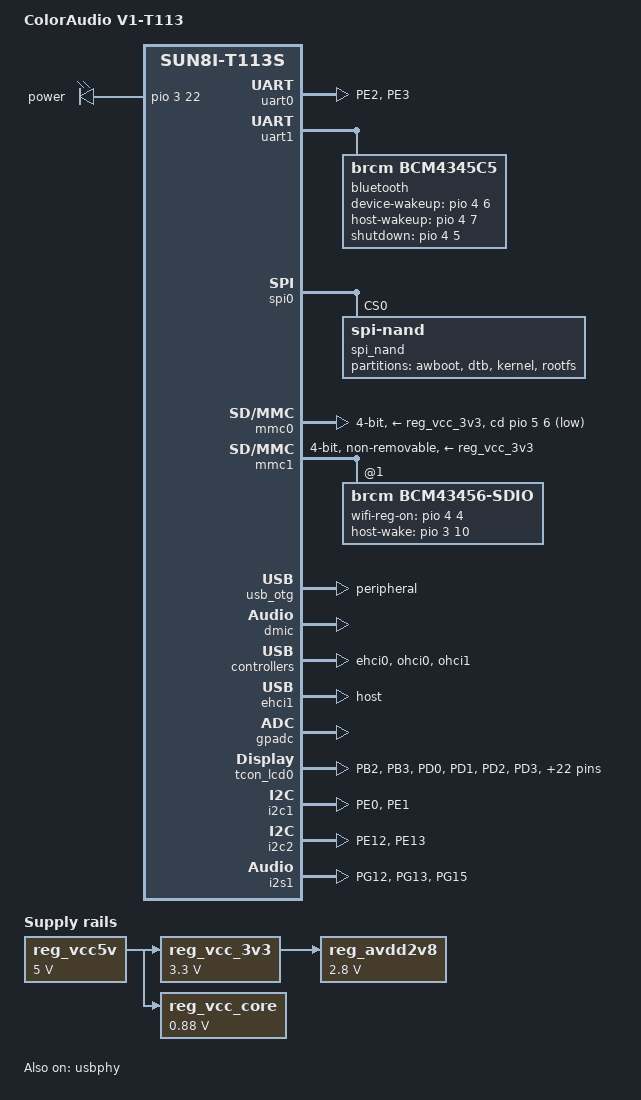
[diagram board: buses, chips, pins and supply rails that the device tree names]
// SPDX-License-Identifier: (GPL-2.0+ OR MIT)
// Copyright (C) 2022 Arm Ltd.

#include <dt-bindings/interrupt-controller/irq.h>
#include <dt-bindings/gpio/gpio.h>

/dts-v1/;

#include "sun8i-t113s.dtsi"

/ {
	model = "ColorAudio V1-T113";
	compatible = "coloryr,coloraudio-t113-v1", "allwinner,sun8i-t113s";

	chosen {
		bootargs = "mem=128M ubi.mtd=3 rootfstype=ubifs root=ubi0:rootfs rw rootwait console=ttyS0,115200 earlyprintk=sunxi-uart,0x02500000 init=/sbin/init";
		stdout-path = "serial0:115200n8";
	};

	aliases {
		serial0 = &uart0;
		mmc0 = &mmc0;
		mmc1 = &mmc1;      // AP6256 WiFi
        mmc2 = &mmc2;      // TF卡
		i2c1 = &i2c1;
		i2c2 = &i2c2;
	};

	reg_vcc5v: regulator-5v {
		compatible = "regulator-fixed";
		regulator-name = "vcc-5v";
		regulator-min-microvolt = <5000000>;
		regulator-max-microvolt = <5000000>;
		regulator-always-on;
	};

	reg_vcc_3v3: regulator-3v3 {
		compatible = "regulator-fixed";
		regulator-name = "vcc-3v3";
		regulator-min-microvolt = <3300000>;
		regulator-max-microvolt = <3300000>;
		vin-supply = <&reg_vcc5v>;
	};

	reg_vcc_core: regulator-core {
		compatible = "regulator-fixed";
		regulator-name = "vcc-core";
		regulator-min-microvolt = <880000>;
		regulator-max-microvolt = <880000>;
		vin-supply = <&reg_vcc5v>;
	};

	reg_avdd2v8: regulator-avdd {
		compatible = "regulator-fixed";
		regulator-name = "avdd2v8";
		regulator-min-microvolt = <2800000>;
		regulator-max-microvolt = <2800000>;
		vin-supply = <&reg_vcc_3v3>;
	};

	// pwm2: pwm2@2000c12 {
	// 	compatible = "allwinner,sunxi-pwm2";
	// 	pinctrl-names = "active", "sleep";
	// 	reg = <0x0 0x02000c12 0x0 0x4>;
	// 	reg_base = <0x02000c00>;
	// };

	//dmic_codec: dmic-codec {
	//	compatible = "dmic-codec";
	//	num-channels = <2>;
	//	#sound-dai-cells = <0>;
	//};

	//dmic-sound {
	//	compatible = "simple-audio-card";
	//	#address-cells = <1>;
	//	#size-cells = <0>;

	//	simple-audio-card,dai-link@0 {
	//		format = "pdm";
	//		frame-master = <&link0_cpu>;
	//		bitclock-master = <&link0_cpu>;

	//		link0_cpu: cpu {
	//			sound-dai = <&dmic>;
	//		};

	//		link0_codec: codec {
	//			sound-dai = <&dmic_codec>;
	//		};
	//	};
	//};

	leds {
		compatible = "gpio-leds";

		power {
			linux,default-trigger = "default-on";
			label = "power";
			gpios = <&pio 3 22 GPIO_ACTIVE_HIGH>;
		};
	};
};

&cpu0 {
	cpu-supply = <&reg_vcc_core>;
};

&cpu1 {
	cpu-supply = <&reg_vcc_core>;
};

&pio {
	vcc-pb-supply = <&reg_vcc_3v3>;
	vcc-pc-supply = <&reg_vcc_3v3>;
	vcc-pd-supply = <&reg_vcc_3v3>;
	vcc-pe-supply = <&reg_avdd2v8>;
	vcc-pf-supply = <&reg_vcc_3v3>;
	vcc-pg-supply = <&reg_vcc_3v3>;

    i2c1_pins_a: i2c1@0 {
        pins = "PE0", "PE1";
        function = "i2c1";
    };

    i2c2_pins_a: i2c2@0 {
        pins = "PE12", "PE13";
        function = "i2c2";
    };

	rgb24_pins_a: rgb24@0 {
		allwinner,pins = "PB2", "PB3", "PD0", "PD1", "PD2", "PD3", "PD4", "PD5", \
			"PB4", "PB5", "PD6", "PD7", "PD8", "PD9", "PD10", "PD11", \
			"PB6", "PB7", "PD12", "PD13", "PD14", "PD15", "PD16", "PD17", \
			"PD18", "PD19", "PD20", "PD21";
		allwinner,pname = "lcdd0", "lcdd1", "lcdd2", "lcdd3", "lcdd4", "lcdd5", "lcdd6", "lcdd7", \
			"lcdd8", "lcdd9", "lcdd10", "lcdd11", "lcdd12", "lcdd13", "lcdd14", "lcdd15", \
			"lcdd16", "lcdd17", "lcdd18", "lcdd19", "lcdd20", "lcdd21", "lcdd22", "lcdd23", \
			"lcdclk", "lcdde", "lcdhsync", "lcdvsync";
		allwinner,function = "lcd0";
		allwinner,muxsel = <2>;
		allwinner,drive = <3>;
		allwinner,pull = <0>;
	};
	rgb24_pins_b: rgb24@1 {
		allwinner,pins = "PB2", "PB3", "PD0", "PD1", "PD2", "PD3", "PD4", "PD5", \
			"PB4", "PB5", "PD6", "PD7", "PD8", "PD9", "PD10", "PD11", \
			"PB6", "PB7", "PD12", "PD13", "PD14", "PD15", "PD16", "PD17", \
			"PD18", "PD19", "PD20", "PD21";
		allwinner,pname = "lcdd0", "lcdd1", "lcdd2", "lcdd3", "lcdd4", "lcdd5", "lcdd6", "lcdd7", \
			"lcdd8", "lcdd9", "lcdd10", "lcdd11", "lcdd12", "lcdd13", "lcdd14", "lcdd15", \
			"lcdd16", "lcdd17", "lcdd18", "lcdd19", "lcdd20", "lcdd21", "lcdd22", "lcdd23", \
			"lcdclk", "lcdde", "lcdhsync", "lcdvsync";
		allwinner,function = "io_disabled";
		allwinner,muxsel = <7>;
		allwinner,drive = <3>;
		allwinner,pull = <0>;
	};

	uart0_pins_a: uart0_pins@0 {
		pins = "PE2", "PE3";
		function = "uart0";
		drive-strength = <10>;
		bias-pull-up;
	};

	uart0_pins_b: uart0_pins@1 {
		pins = "PE2", "PE3";
		function = "gpio_in";
	};

	uart2_pins_a: uart2_pins@0 {
		pins = "PE2", "PE3";
		function = "uart2";
		drive-strength = <10>;
		bias-pull-up;
	};

	uart2_pins_b: uart2_pins@1 {
		pins = "PE2", "PE3";
		function = "gpio_in";
	};

	pwm2_pin_a: pwm2@0 {
		pins = "PE8";
		function = "pwm2";
		drive-strength = <10>;
		bias-pull-up;
	};

	pwm2_pin_b: pwm2@1 {
		pins = "PE8";
	};

	i2s1_pins_a: i2s1@0 {
		pins = "PG12","PG13","PG15";
		function = "i2s1";
		drive-strength = <20>;       
        bias-disable; 
	};

    rotary_pins: rotary-pins {
        pins = "PG11", "PG12";
        function = "gpio_in";
        bias-pull-up;
    };
};

&uart0 {
	pinctrl-names = "default", "sleep";
	pinctrl-0 = <&uart0_pins_a>;
	pinctrl-1 = <&uart0_pins_b>;
	status = "okay";
};

&uart1 {
	uart-has-rtscts;
	pinctrl-0 = <&uart1_pg6_pins>, <&uart1_pg8_rts_cts_pins>;
	pinctrl-names = "default";
	status = "okay";

	bluetooth {
		compatible = "brcm,bcm4345c5";
		device-wakeup-gpios = <&pio 4 6 GPIO_ACTIVE_HIGH>;
		host-wakeup-gpios = <&pio 4 7 GPIO_ACTIVE_HIGH>;
		shutdown-gpios = <&pio 4 5 GPIO_ACTIVE_HIGH>;
	};
};

&spi0 {
	pinctrl-0 = <&spi0_pins>;
	pinctrl-names = "default";
	status = "okay";

	spi_nand: spi_nand@0 {
        #address-cells = <1>;
        #size-cells = <1>;
		compatible = "spi-nand";
		reg = <0>;

		partition@0 {
			label = "awboot";
			reg = <0x0 0x40000>;	/* 256K */
			read-only;
		};

		partition@40000 {
			label = "dtb";
			reg = <0x40000 0x40000>;  /* 256k */
			read-only;
		};

		partition@80000 {
			label = "kernel";
			reg = <0x80000 0x780000>;  /* 7.5MB */
			read-only;
		};

		partition@800000 {
			label = "rootfs";
			reg = <0x800000 0x7800000>;
		};
	};
};

&mmc0 {
	pinctrl-0 = <&mmc0_pins>;
	pinctrl-names = "default";
	vmmc-supply = <&reg_vcc_3v3>;
	vqmmc-supply = <&reg_vcc_3v3>;
	cd-gpios = <&pio 5 6 GPIO_ACTIVE_LOW>;
	disable-wp;
	bus-width = <4>;
	status = "okay";
};

&mmc1 {
	pinctrl-0 = <&mmc1_pins>;
	pinctrl-names = "default";
	vmmc-supply = <&reg_vcc_3v3>;
	vqmmc-supply = <&reg_vcc_3v3>;
	non-removable;
	bus-width = <4>;
	status = "okay";

	brcm: sdio-wifi@1 {
		reg = <1>;
		compatible = "brcm,bcm43456-sdio";
		brcm,drive-strength = <10>;
		wifi-reg-on-gpio = <&pio 4 4 GPIO_ACTIVE_HIGH>; 
        host-wake-gpio = <&pio 3 10 GPIO_ACTIVE_HIGH>;
	};
};

&usbphy {
	usb0_vbus-supply = <&reg_vcc5v>;
	usb1_vbus-supply = <&reg_vcc5v>;
	status = "okay";
};

&usb_otg {
	dr_mode = "peripheral";
	status = "okay";
};

&dmic {
	status = "okay";
};

&ehci0 {
	status = "okay";
};

&ehci1 {
	dr_mode = "host";
	status = "okay";
};

&ohci0 {
	status = "okay";
};

&ohci1 {
	status = "okay";
};

&gpadc {
	channel_num = <1>;
	channel_select = <0x1>;
	channel_data_select = <0>;
	channel_compare_select = <0x1>;
	channel_cld_select = <0x1>;
	channel_chd_select = <0>;
	channel0_compare_lowdata = <1700000>;
	channel0_compare_higdata = <1200000>;
	channel1_compare_lowdata = <460000>;
	channel1_compare_higdata = <1200000>;
	status = "okay";
};

&tcon_lcd0 {
	
	/* part 1 */
	lcd_used            = <1>;
	lcd_driver_name     = "default_lcd";
	/* part 2 */
	lcd_if = <0>;
	lcd_hv_if = <0>;
	/* part 3 */
	lcd_x               = <854>;
	lcd_y               = <480>;
	lcd_width           = <154>;
	lcd_height          = <85>;

	lcd_dclk_freq       = <28>;
	lcd_hbp             = <30>;
	lcd_ht              = <902>;
	lcd_hspw            = <6>;
	lcd_vbp             = <30>;
	lcd_vt              = <523>;
	lcd_vspw            = <1>;

	/* part 5 */
	lcd_frm = <1>;
	lcd_io_phase = <0x0000>;
	lcd_gamma_en = <0>;
	lcd_cmap_en = <0>;
	lcd_hv_clk_phase = <0>;
	lcd_hv_sync_polarity= <0>;
				
	/* part 6 */
	lcd_power = "vcc-lcd";
	lcd_pin_power = "vcc-pd";
	pinctrl-0 = <&rgb24_pins_a>;
	pinctrl-1 = <&rgb24_pins_b>;
};

// &pwm2 {
// 	pinctrl-names = "active", "sleep";
// 	pinctrl-0 = <&pwm2_pin_a>;
// 	pinctrl-1 = <&pwm2_pin_b>;
// 	status = "okay";
// };

&i2c1 {
	pinctrl-0 = <&i2c1_pins_a>;
	pinctrl-names = "default";
	status = "okay";
};

&i2c2 {
	pinctrl-0 = <&i2c2_pins_a>;
	pinctrl-names = "default";
	status = "okay";
};

&i2s1 {
	tdm_config = <0x01>;
	pinctrl-names= "default";
	pinctrl-0 = <&i2s1_pins_a>;
	status = "okay";
};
